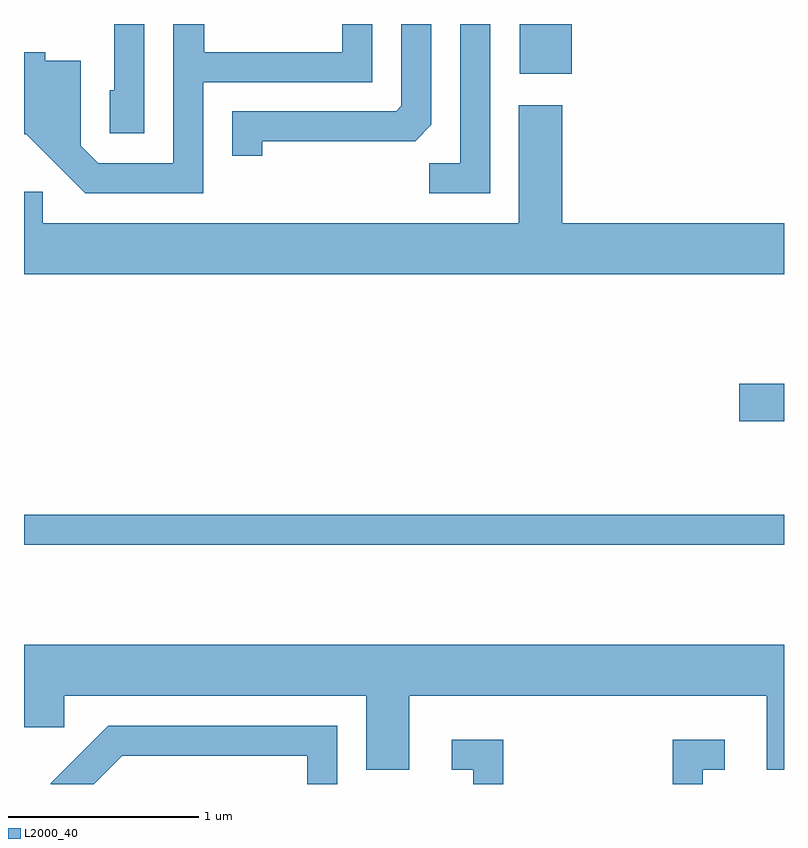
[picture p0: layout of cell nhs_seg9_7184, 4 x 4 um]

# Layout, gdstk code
import gdstk
lib = gdstk.Library(unit=1e-6, precision=1e-09)
def R(c, l, rs):  # rectangles x0, y0, x1, y1
    for r in rs: c.add(gdstk.rectangle(r[:2], r[2:], *l))
def P(c, l, *ps):  # polygons
    for p in ps: c.add(gdstk.Polygon(p, *l))
L2000_40 = (2000, 40)

nhs_seg9_7184 = lib.new_cell('nhs_seg9_7184')
R(nhs_seg9_7184, L2000_40, [(397.611,2023.691,401.611,2023.849), (401.376,2024.341,401.611,2024.539), (400.221,2026.171,400.494,2026.432)])
P(nhs_seg9_7184, L2000_40, [(398.554,2026.126),(399.444,2026.126),(399.444,2026.432),(399.286,2026.432),(399.286,2026.284),(398.559,2026.284),(398.559,2026.432),(398.396,2026.432),(398.396,2025.699),(398.002,2025.699),(397.909,2025.792),(397.909,2026.239),(397.724,2026.239),(397.724,2026.284),(397.611,2026.284),(397.611,2025.851),(397.624,2025.851),(397.934,2025.541),(398.554,2025.541)],
  [(398.244,2026.432),(398.086,2026.432),(398.086,2026.084),(398.061,2026.084),(398.061,2025.856),(398.244,2025.856)],
  [(400.064,2026.432),(399.906,2026.432),(399.906,2025.699),(399.743,2025.699),(399.743,2025.541),(400.064,2025.541)],
  [(398.864,2025.816),(399.669,2025.816),(399.754,2025.902),(399.754,2026.432),(399.596,2026.432),(399.596,2026.002),(399.569,2025.974),(398.706,2025.974),(398.706,2025.738),(398.864,2025.738)],
  [(401.611,2025.384),(400.444,2025.384),(400.444,2026.004),(400.216,2026.004),(400.216,2025.384),(397.709,2025.384),(397.709,2025.549),(397.611,2025.549),(397.611,2025.116),(401.611,2025.116)],
  [(399.639,2022.896),(401.521,2022.896),(401.521,2022.506),(401.611,2022.506),(401.611,2023.164),(397.611,2023.164),(397.611,2022.731),(397.824,2022.731),(397.824,2022.896),(399.411,2022.896),(399.411,2022.506),(399.639,2022.506)],
  [(398.127,2022.581),(399.101,2022.581),(399.101,2022.432),(399.259,2022.432),(399.259,2022.739),(398.054,2022.739),(397.751,2022.437),(397.751,2022.432),(397.977,2022.432)],
  [(400.134,2022.664),(399.863,2022.664),(399.863,2022.506),(399.976,2022.506),(399.976,2022.432),(400.134,2022.432)],
  [(401.184,2022.506),(401.298,2022.506),(401.298,2022.664),(401.026,2022.664),(401.026,2022.432),(401.184,2022.432)])

lib.write_gds('nhs_seg9_7184.gds')
